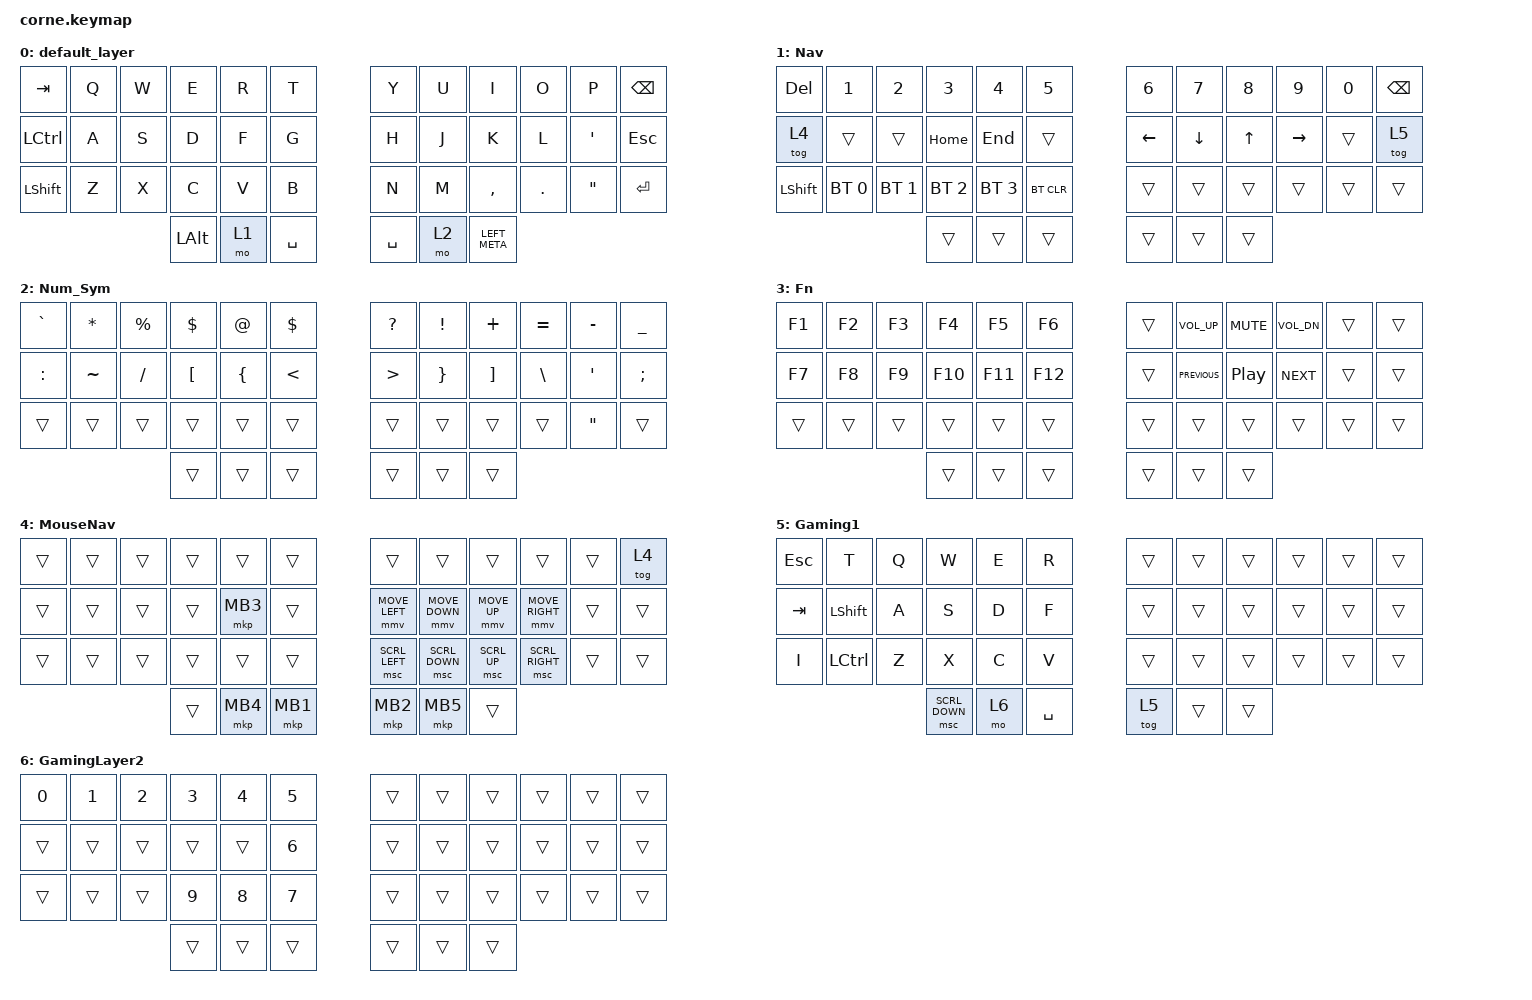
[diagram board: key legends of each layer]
/*
 * Copyright (c) 2020 The ZMK Contributors
 *
 * SPDX-License-Identifier: MIT
 */

#include <behaviors.dtsi>
#include <dt-bindings/zmk/bt.h>
#include <dt-bindings/zmk/keys.h>
#include <dt-bindings/zmk/pointing.h>

/ {
    combos {
        compatible = "zmk,combos";

        semcol {
            bindings = <&kp SEMI>;
            key-positions = <32 33>;
            timeout-ms = <50>;
            layers = <0>;
        };

        cpslck {
            bindings = <&kp CAPSLOCK>;
            key-positions = <24 35>;
            layers = <0>;
        };

        parentheses_left {
            bindings = <&kp LEFT_PARENTHESIS>;
            key-positions = <16 15>;
            layers = <0>;
        };

        parentheses_right {
            bindings = <&kp RIGHT_PARENTHESIS>;
            key-positions = <19 20>;
            layers = <0>;
        };

        bracket_left {
            bindings = <&kp LEFT_BRACKET>;
            key-positions = <3 4>;
            layers = <0>;
        };

        bracket_right {
            bindings = <&kp RIGHT_BRACKET>;
            key-positions = <8 7>;
            layers = <0>;
        };

        colon {
            bindings = <&kp COLON>;
            key-positions = <20 21>;
            layers = <0>;
        };

        grave {
            bindings = <&kp GRAVE>;
            key-positions = <15 14>;
            layers = <0>;
        };

        brace_left {
            bindings = <&kp LEFT_BRACE>;
            key-positions = <27 28>;
            layers = <0>;
        };

        brace_right {
            bindings = <&kp RIGHT_BRACE>;
            key-positions = <31 32>;
            layers = <0>;
        };

        less_than {
            bindings = <&kp LESS_THAN>;
            key-positions = <2 3>;
            layers = <0>;
        };

        bigger_than {
            bindings = <&kp GREATER_THAN>;
            key-positions = <8 9>;
            layers = <0>;
        };

        hyphen {
            bindings = <&kp MINUS>;
            key-positions = <28 31>;
            layers = <0>;
        };

        plus {
            bindings = <&kp PLUS>;
            key-positions = <4 7>;
            layers = <0>;
        };

        equal {
            bindings = <&kp EQUAL>;
            key-positions = <16 19>;
            layers = <0>;
        };

        Pipe {
            bindings = <&kp PIPE>;
            key-positions = <27 26>;
            layers = <0>;
        };

        astrsk {
            bindings = <&kp ASTERISK>;
            key-positions = <3 8>;
            layers = <0>;
        };

        dollar {
            bindings = <&kp DOLLAR>;
            key-positions = <15 20>;
            layers = <0>;
        };

        excl {
            bindings = <&kp EXCL>;
            key-positions = <27 32>;
            layers = <0>;
        };

        ampersand {
            bindings = <&kp AMPERSAND>;
            key-positions = <17 18>;
            layers = <0>;
        };

        underscore {
            bindings = <&kp UNDERSCORE>;
            key-positions = <29 30>;
            layers = <0>;
        };

        backslash {
            bindings = <&kp BACKSLASH>;
            key-positions = <21 22>;
            layers = <0>;
        };

        tilde {
            bindings = <&kp TILDE>;
            key-positions = <14 13>;
            layers = <0>;
        };
    };

    behaviors {
        hml: hml {
            compatible = "zmk,behavior-hold-tap";
            label = "HML";
            bindings = <&kp>, <&kp>;

            #binding-cells = <2>;
            tapping-term-ms = <280>;
            quick-tap-ms = <175>;
            flavor = "balanced";
            hold-trigger-on-release;
            hold-trigger-key-positions = <6 7 8 9 10 11 18 19 20 21 22 23 30 31 32 33 34 35 38 39 40 41 37 36>;
            require-prior-idle-ms = <150>;
        };

        hmr: hmr {
            compatible = "zmk,behavior-hold-tap";
            label = "HMR";
            bindings = <&kp>, <&kp>;

            #binding-cells = <2>;
            tapping-term-ms = <280>;
            quick-tap-ms = <175>;
            hold-trigger-on-release;
            hold-trigger-key-positions = <0 1 2 3 4 5 12 13 14 15 16 17 24 25 26 27 28 29 36 37 38 39 40 41>;
            flavor = "balanced";
            require-prior-idle-ms = <150>;
        };

        lrt: lrt {
            compatible = "zmk,behavior-hold-tap";
            label = "LRT";
            bindings = <&mo>, <&kp>;

            #binding-cells = <2>;
            tapping-term-ms = <150>;
            flavor = "tap-preferred";
        };
    };

    keymap {
        compatible = "zmk,keymap";

        default_layer {
            // -----------------------------------------------------------------------------------------
            // |  TAB |  Q  |  W  |  E  |  R  |  T  |   |  Y  |  U   |  I  |  O  |  P  | BSPC |
            // | CTRL |  A  |  S  |  D  |  F  |  G  |   |  H  |  J   |  K  |  L  |  ;  |  '   |
            // | SHFT |  Z  |  X  |  C  |  V  |  B  |   |  N  |  M   |  ,  |  .  |  /  | ESC  |
            //                    | GUI | LWR | SPC |   | ENT | RSE  | ALT |

            bindings = <
&kp TAB         &kp Q  &kp W  &kp E         &kp R  &kp T        &kp Y      &kp U  &kp I          &kp O    &kp P    &kp BSPC
&kp LCTRL       &kp A  &kp S  &kp D         &kp F  &kp G        &kp H      &kp J  &kp K          &kp L    &kp SQT  &kp ESC
&kp LEFT_SHIFT  &kp Z  &kp X  &kp C         &kp V  &kp B        &kp N      &kp M  &kp COMMA      &kp DOT  &kp DQT  &kp ENTER
                              &kp LEFT_ALT  &mo 1  &kp SPACE    &kp SPACE  &mo 2  &kp LEFT_META
            >;
        };

        Nav {
            // -----------------------------------------------------------------------------------------
            // |  TAB |  1  |  2  |  3  |  4  |  5  |   |  6  |  7  |  8  |  9  |  0  | BSPC |
            // | BTCLR| BT1 | BT2 | BT3 | BT4 | BT5 |   | LFT | DWN |  UP | RGT |     |      |
            // | SHFT |     |     |     |     |     |   |     |     |     |     |     |      |
            //                    | GUI |     | SPC |   | ENT |     | ALT |

            bindings = <
&kp DEL         &kp NUMBER_1  &kp N2        &kp N3        &kp N4        &kp N5        &kp N6    &kp N7    &kp N8  &kp N9     &kp N0  &kp BSPC
&tog 4          &trans        &trans        &kp HOME      &kp END       &trans        &kp LEFT  &kp DOWN  &kp UP  &kp RIGHT  &trans  &tog 5
&kp LEFT_SHIFT  &bt BT_SEL 0  &bt BT_SEL 1  &bt BT_SEL 2  &bt BT_SEL 3  &bt BT_CLR    &trans    &trans    &trans  &trans     &trans  &trans
                                            &trans        &trans        &trans        &trans    &trans    &trans
            >;
        };

        Num_Sym {
            bindings = <
&kp GRAVE  &kp ASTERISK  &kp PERCENT  &kp DOLLAR  &kp AT    &kp DOLLAR    &kp QUESTION  &kp EXCLAMATION  &kp PLUS           &kp EQUAL      &kp MINUS          &kp UNDER
&kp COLON  &kp TILDE     &kp SLASH    &kp LBKT    &kp LBRC  &kp LT        &kp GT        &kp RIGHT_BRACE  &kp RIGHT_BRACKET  &kp BACKSLASH  &kp SQT            &kp SEMICOLON
&trans     &trans        &trans       &trans      &trans    &trans        &trans        &trans           &trans             &trans         &kp DOUBLE_QUOTES  &trans
                                      &trans      &trans    &trans        &trans        &trans           &trans
            >;
        };

        Fn {
            bindings = <
&kp F1  &kp F2  &kp F3  &kp F4   &kp F5   &kp F6     &trans  &kp C_VOLUME_UP  &kp C_MUTE        &kp C_VOL_DN  &trans  &trans
&kp F7  &kp F8  &kp F9  &kp F10  &kp F11  &kp F12    &trans  &kp C_PREVIOUS   &kp C_PLAY_PAUSE  &kp C_NEXT    &trans  &trans
&trans  &trans  &trans  &trans   &trans   &trans     &trans  &trans           &trans            &trans        &trans  &trans
                        &trans   &trans   &trans     &trans  &trans           &trans
            >;
        };

        MouseNav {
            bindings = <
&trans  &trans  &trans  &trans  &trans    &trans      &trans          &trans          &trans        &trans           &trans  &tog 4
&trans  &trans  &trans  &trans  &mkp MB3  &trans      &mmv MOVE_LEFT  &mmv MOVE_DOWN  &mmv MOVE_UP  &mmv MOVE_RIGHT  &trans  &trans
&trans  &trans  &trans  &trans  &trans    &trans      &msc SCRL_LEFT  &msc SCRL_DOWN  &msc SCRL_UP  &msc SCRL_RIGHT  &trans  &trans
                        &trans  &mkp MB4  &mkp MB1    &mkp MB2        &mkp MB5        &trans
            >;
        };

        Gaming1 {
            bindings = <
&kp ESCAPE  &kp T           &kp Q  &kp W           &kp E  &kp R        &trans  &trans  &trans  &trans  &trans  &trans
&kp TAB     &kp LEFT_SHIFT  &kp A  &kp S           &kp D  &kp F        &trans  &trans  &trans  &trans  &trans  &trans
&kp I       &kp LCTRL       &kp Z  &kp X           &kp C  &kp V        &trans  &trans  &trans  &trans  &trans  &trans
                                   &msc SCRL_DOWN  &mo 6  &kp SPACE    &tog 5  &trans  &trans
            >;
        };

        GamingLayer2 {
            bindings = <
&kp NUMBER_0  &kp NUMBER_1  &kp NUMBER_2  &kp NUMBER_3  &kp NUMBER_4  &kp N5          &trans  &trans  &trans  &trans  &trans  &trans
&trans        &trans        &trans        &trans        &trans        &kp NUMBER_6    &trans  &trans  &trans  &trans  &trans  &trans
&trans        &trans        &trans        &kp N9        &kp N8        &kp N7          &trans  &trans  &trans  &trans  &trans  &trans
                                          &trans        &trans        &trans          &trans  &trans  &trans
            >;
        };
    };

    conditional_layers {
        compatible = "zmk,conditional-layers";

        func_layer {
            if-layers = <1 2>;
            then-layer = <3>;
        };
    };
};
